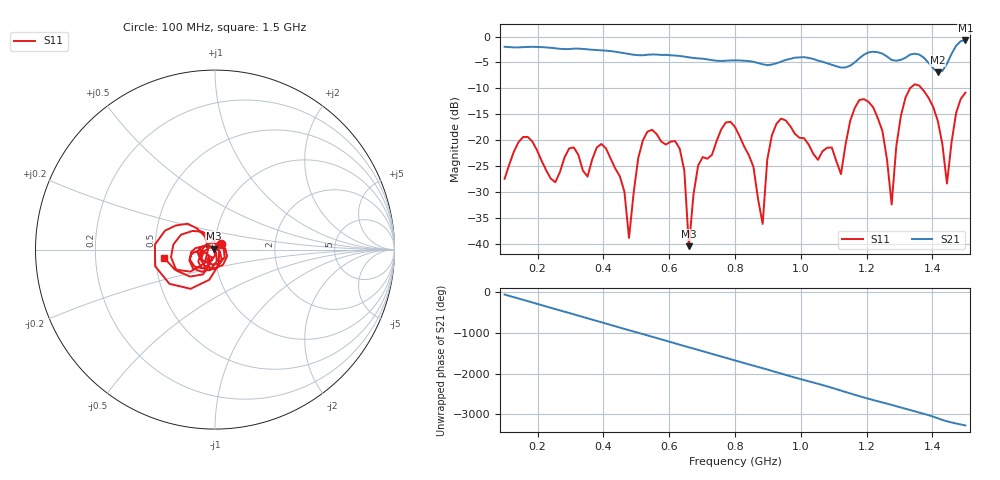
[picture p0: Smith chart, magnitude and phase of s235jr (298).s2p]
! NanoVNA-App
! Date: 2025-09-25 15:06:29
! Start: 100MHz Stop: 1,5GHz Points: 101
! S-Parameter data: F S11 S21 S12 S22
# Hz S RI R 50
!  Frequency  S11_Real  S11_Imag  S21_Real  S21_Imag  S12_Real  S12_Imag  S22_Real  S22_Imag
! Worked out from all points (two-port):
!   101 points, 100 MHz to 1.5 GHz, reference 50 ohm
!   highest |S21| = -0.75 dB at 1.5 GHz (marker M1); lowest = -6.9 dB at 1.416 GHz (marker M2)
!   |S21| within 3 dB of the highest: start of sweep to 632.8 MHz; 1.187 GHz to 1.259 GHz (72.54 MHz wide, 5.93 % of centre) (the widest 2 of 4)
!   lowest |S11| = -40.5 dB at 660 MHz (marker M3), VSWR 1.02, Z = 49.3 + j0.576 ohm
!   |S11| at or under -10 dB: start of sweep to 1.332 GHz; 1.367 GHz to end of sweep
!   S12 and S22 are empty: the file has one direction only
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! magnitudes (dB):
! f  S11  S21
! 100 MHz  -27.5  -2.0
! 156 MHz  -19.4  -2.0
! 338 MHz  -25.9  -2.4
! 408 MHz  -21.6  -2.7
! 478 MHz  -38.9  -3.4
! 520 MHz  -20.1  -3.6
! 576 MHz  -20.3  -3.5
! 632 MHz  -21.7  -3.7
! 660 MHz  -40.5  -4.0
! 688 MHz  -24.9  -4.2
! 800 MHz  -17.5  -4.6
! 884 MHz  -36.2  -5.3
! 926 MHz  -16.8  -5.2
! 1.038 GHz  -22.7  -4.3
! 1.122 GHz  -26.6  -6.0
! 1.206 GHz  -12.6  -3.0
! 1.248 GHz  -18.3  -3.3
! 1.276 GHz  -32.4  -4.5
! 1.332 GHz  -10.0  -3.5
! 1.416 GHz  -16.2  -6.9
! 1.444 GHz  -28.4  -5.2
! 1.5 GHz  -10.8  -0.7
